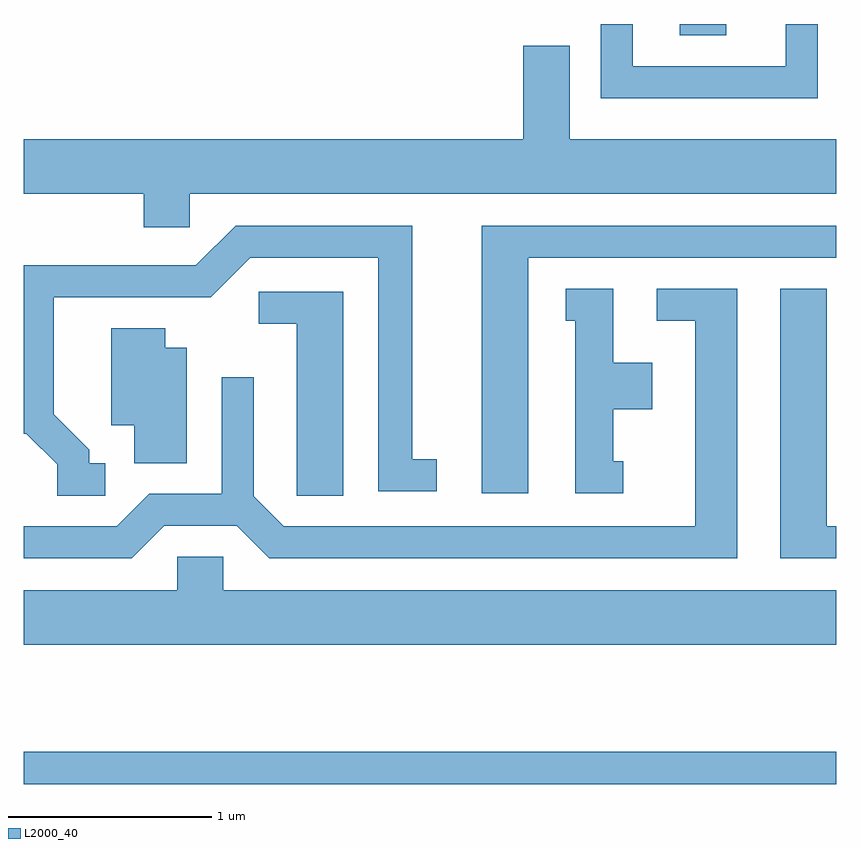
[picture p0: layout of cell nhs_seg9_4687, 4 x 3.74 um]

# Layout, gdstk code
import gdstk
lib = gdstk.Library(unit=1e-6, precision=1e-09)
def R(c, l, rs):  # rectangles x0, y0, x1, y1
    for r in rs: c.add(gdstk.rectangle(r[:2], r[2:], *l))
def P(c, l, *ps):  # polygons
    for p in ps: c.add(gdstk.Polygon(p, *l))
L2000_40 = (2000, 40)

nhs_seg9_4687 = lib.new_cell('nhs_seg9_4687')
R(nhs_seg9_4687, L2000_40, [(323.611,1986.691,327.611,1986.849), (326.841,1990.376,327.069,1990.432)])
P(nhs_seg9_4687, L2000_40, [(327.519,1990.432),(327.361,1990.432),(327.361,1990.224),(326.609,1990.224),(326.609,1990.432),(326.451,1990.432),(326.451,1990.066),(327.519,1990.066)],
  [(324.429,1989.596),(327.611,1989.596),(327.611,1989.864),(326.299,1989.864),(326.299,1990.324),(326.071,1990.324),(326.071,1989.864),(323.611,1989.864),(323.611,1989.596),(324.201,1989.596),(324.201,1989.431),(324.429,1989.431)],
  [(326.094,1989.281),(327.611,1989.281),(327.611,1989.439),(325.866,1989.439),(325.866,1988.121),(326.094,1988.121)],
  [(324.013,1988.269),(323.934,1988.269),(323.934,1988.337),(323.759,1988.512),(323.759,1989.086),(324.532,1989.086),(324.727,1989.281),(325.356,1989.281),(325.356,1988.131),(325.643,1988.131),(325.643,1988.289),(325.524,1988.289),(325.524,1989.439),(324.654,1989.439),(324.459,1989.244),(323.611,1989.244),(323.611,1988.416),(323.624,1988.416),(323.776,1988.264),(323.776,1988.111),(324.013,1988.111)],
  [(324.302,1987.961),(324.659,1987.961),(324.819,1987.801),(327.124,1987.801),(327.124,1989.129),(326.728,1989.129),(326.728,1988.971),(326.916,1988.971),(326.916,1987.959),(324.892,1987.959),(324.744,1988.107),(324.744,1988.693),(324.586,1988.693),(324.586,1988.119),(324.229,1988.119),(324.069,1987.959),(323.611,1987.959),(323.611,1987.801),(324.142,1987.801)],
  [(326.563,1988.279),(326.514,1988.279),(326.514,1988.536),(326.704,1988.536),(326.704,1988.764),(326.514,1988.764),(326.514,1989.129),(326.278,1989.129),(326.278,1988.971),(326.326,1988.971),(326.326,1988.121),(326.563,1988.121)],
  [(327.611,1987.959),(327.564,1987.959),(327.564,1989.129),(327.336,1989.129),(327.336,1987.801),(327.611,1987.801)],
  [(325.184,1989.114),(324.768,1989.114),(324.768,1988.956),(324.956,1988.956),(324.956,1988.111),(325.184,1988.111)],
  [(324.414,1988.839),(324.309,1988.839),(324.309,1988.934),(324.041,1988.934),(324.041,1988.456),(324.156,1988.456),(324.156,1988.271),(324.414,1988.271)],
  [(327.611,1987.644),(324.594,1987.644),(324.594,1987.809),(324.366,1987.809),(324.366,1987.644),(323.611,1987.644),(323.611,1987.376),(327.611,1987.376)])

lib.write_gds('nhs_seg9_4687.gds')
